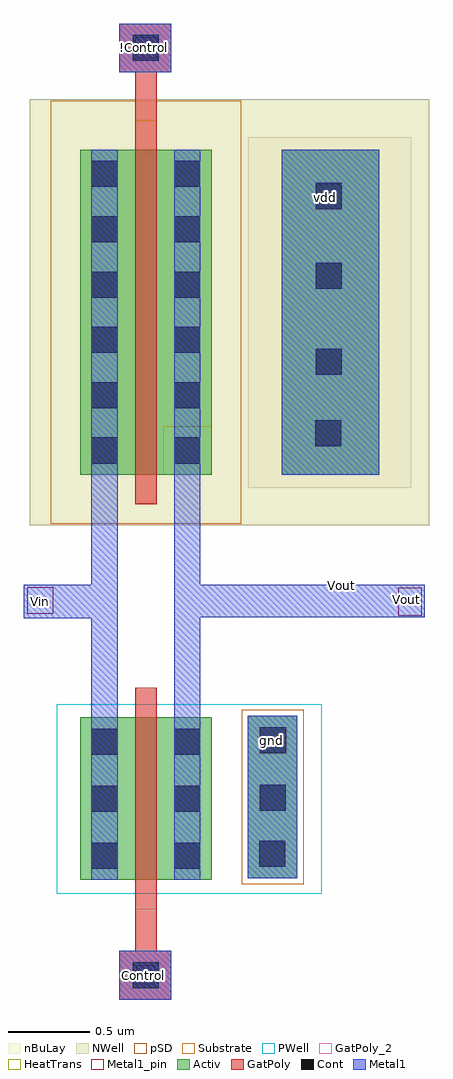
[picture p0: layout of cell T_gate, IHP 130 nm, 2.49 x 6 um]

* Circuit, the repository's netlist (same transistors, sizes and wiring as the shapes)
* Extracted by KLayout with SG13G2 LVS runset on : 12/02/2026 15:34

.SUBCKT T_gate gnd vdd Control Vout Vin \!Control
M$1 Vin Control Vout gnd sg13_lv_nmos L=0.13u W=1u AS=0.34p AD=0.34p PS=2.68u
+ PD=2.68u
M$2 Vin \!Control Vout vdd sg13_lv_pmos L=0.13u W=2u AS=0.68p AD=0.68p PS=4.68u
+ PD=4.68u
.ENDS T_gate

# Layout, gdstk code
import gdstk
lib = gdstk.Library(unit=1e-6, precision=1e-09)
def R(c, l, rs):  # rectangles x0, y0, x1, y1
    for r in rs: c.add(gdstk.rectangle(r[:2], r[2:], *l))
def A(c, l, x, y, w, h, nx, ny, dx, dy):  # array of equal rectangles
    R(c, l, [(x+i*dx, y+j*dy, x+i*dx+w, y+j*dy+h) for i in range(nx) for j in range(ny)])
Activ = (1, 0)
GatPoly = (5, 0)
GatPoly_2 = (5, 2)
Cont = (6, 0)
Metal1 = (8, 0)
Metal1_pin = (8, 2)
pSD = (14, 0)
NWell = (31, 0)
nBuLay = (32, 0)
Substrate = (40, 0)
PWell = (46, 0)
HeatTrans = (51, 0)

pmos_1 = lib.new_cell('pmos$1')
R(pmos_1, Activ, [(0,0,0.3,0.3), (0,0,0.81,2), (0.51,0,0.81,0.3)])
R(pmos_1, GatPoly, [(0.34,-0.18,0.47,2.18), (0.34,-0.18,0.47,2.18)])
A(pmos_1, Cont, 0.07, 0.07, 0.16, 0.16, 1, 6, 0, 0.34)
A(pmos_1, Cont, 0.58, 0.07, 0.16, 0.16, 1, 6, 0, 0.34)
R(pmos_1, Metal1, [(0.07,0,0.23,2), (0.07,0,0.23,2), (0.58,0,0.74,2), (0.58,0,0.74,2)])
R(pmos_1, pSD, [(-0.18,-0.3,0.99,2.3)])
R(pmos_1, NWell, [(-0.31,-0.31,1.12,2.31)])
R(pmos_1, Substrate, [(0.51,0,0.81,0.3)])
R(pmos_1, HeatTrans, [(0.34,-0.18,0.47,2.18)])
pmos_1.add(gdstk.Label('pmos', (0.405,1), layer=63, texttype=0))
pmos_1.add(gdstk.Label('pmos', (0.405,1), layer=51, texttype=0))

nmos_1 = lib.new_cell('nmos$1')
R(nmos_1, Activ, [(0,0,0.3,0.3), (0,0,0.81,1), (0.51,0,0.81,0.3)])
R(nmos_1, GatPoly, [(0.34,-0.18,0.47,1.18)])
R(nmos_1, GatPoly_2, [(0.34,-0.18,0.47,1.18)])
A(nmos_1, Cont, 0.07, 0.07, 0.16, 0.16, 1, 3, 0, 0.35)
A(nmos_1, Cont, 0.58, 0.07, 0.16, 0.16, 1, 3, 0, 0.35)
R(nmos_1, Metal1, [(0.07,0,0.23,1), (0.58,0,0.74,1)])
R(nmos_1, Metal1_pin, [(0.07,0,0.23,1), (0.58,0,0.74,1)])
R(nmos_1, HeatTrans, [(0.34,-0.18,0.47,1.18)])
nmos_1.add(gdstk.Label('nmos', (0.405,0.5), layer=63, texttype=0))
nmos_1.add(gdstk.Label('nmos', (0.405,0.5), layer=51, texttype=0))

t_gate = lib.new_cell('T_gate')
R(t_gate, Activ, [(0.81,-2.305,1.115,-1.305), (1.02,0.175,1.62,2.175)])
R(t_gate, GatPoly, [(0.02,-3.05,0.34,-2.75), (0.12,-2.8,0.25,-2.315), (0.12,2.17,0.25,2.75), (0.02,2.65,0.34,2.95)])
R(t_gate, Cont, [(0.105,-2.98,0.265,-2.82), (0.88,-2.235,1.04,-2.075), (0.885,-1.89,1.045,-1.73), (0.885,-1.535,1.045,-1.375), (1.225,0.35,1.385,0.51), (1.23,0.79,1.39,0.95), (1.23,1.32,1.39,1.48), (1.23,1.81,1.39,1.97), (0.105,2.72,0.265,2.88)])
R(t_gate, Metal1, [(0.02,-3.05,0.34,-2.75), (0.81,-2.305,1.115,-1.305), (-0.15,-1.615,0.01,0.88), (0.36,-1.615,0.52,0.89), (-0.565,-0.705,0.01,-0.5), (0.36,-0.7,1.9,-0.5), (1.02,0.175,1.62,2.175), (0.02,2.65,0.34,2.95)])
R(t_gate, Metal1_pin, [(0.125,-2.955,0.24,-2.84), (0.885,-1.535,1.05,-1.375), (1.735,-0.69,1.88,-0.52), (-0.545,-0.68,-0.385,-0.515), (1.23,1.805,1.39,1.965), (0.12,2.735,0.255,2.865)])
R(t_gate, pSD, [(0.775,-2.34,1.155,-1.27)])
R(t_gate, NWell, [(-0.23,-0.135,1.925,2.485)])
R(t_gate, nBuLay, [(0.815,0.095,1.815,2.25)])
R(t_gate, PWell, [(-0.365,-2.4,1.265,-1.235)])
t_gate.add(gdstk.Reference(pmos_1, (-0.22,0.175)))
t_gate.add(gdstk.Reference(nmos_1, (-0.22,-2.315)))
t_gate.add(gdstk.Label('Vout', (1.385,-0.505), layer=63, texttype=0))
t_gate.add(gdstk.Label('Vin', (-0.465,-0.605), layer=8, texttype=25))
t_gate.add(gdstk.Label('Vout', (1.785,-0.59), layer=8, texttype=25))
t_gate.add(gdstk.Label('!Control', (0.17,2.805), layer=8, texttype=25))
t_gate.add(gdstk.Label('Control', (0.17,-2.905), layer=8, texttype=25))
t_gate.add(gdstk.Label('gnd', (0.955,-1.46), layer=8, texttype=25))
t_gate.add(gdstk.Label('vdd', (1.29,1.88), layer=8, texttype=25))

lib.write_gds('T_gate.gds')
